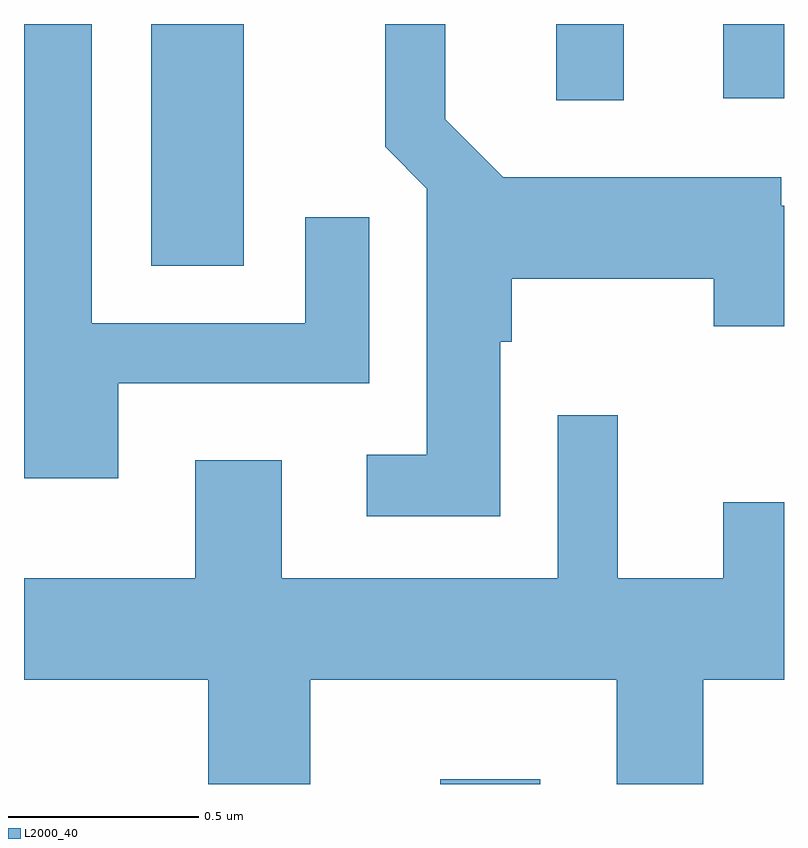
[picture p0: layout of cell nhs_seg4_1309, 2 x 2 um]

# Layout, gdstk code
import gdstk
lib = gdstk.Library(unit=1e-6, precision=1e-09)
def R(c, l, rs):  # rectangles x0, y0, x1, y1
    for r in rs: c.add(gdstk.rectangle(r[:2], r[2:], *l))
def P(c, l, *ps):  # polygons
    for p in ps: c.add(gdstk.Polygon(p, *l))
L2000_40 = (2000, 40)

nhs_seg4_1309 = lib.new_cell('nhs_seg4_1309')
R(nhs_seg4_1309, L2000_40, [(195.706,1329.982,195.969,1329.994), (194.946,1331.346,195.189,1331.982), (196.011,1331.781,196.189,1331.982), (196.451,1331.786,196.611,1331.982)])
P(nhs_seg4_1309, L2000_40, [(194.859,1331.036),(195.519,1331.036),(195.519,1331.473),(195.351,1331.473),(195.351,1331.194),(194.789,1331.194),(194.789,1331.982),(194.611,1331.982),(194.611,1330.786),(194.859,1330.786)],
  [(195.864,1331.146),(195.894,1331.146),(195.894,1331.311),(196.426,1331.311),(196.426,1331.186),(196.611,1331.186),(196.611,1331.504),(196.604,1331.504),(196.604,1331.579),(195.872,1331.579),(195.719,1331.732),(195.719,1331.982),(195.561,1331.982),(195.561,1331.659),(195.671,1331.549),(195.671,1330.849),(195.513,1330.849),(195.513,1330.686),(195.864,1330.686)],
  [(195.364,1330.256),(196.171,1330.256),(196.171,1329.982),(196.399,1329.982),(196.399,1330.256),(196.611,1330.256),(196.611,1330.724),(196.451,1330.724),(196.451,1330.524),(196.174,1330.524),(196.174,1330.953),(196.016,1330.953),(196.016,1330.524),(195.289,1330.524),(195.289,1330.834),(195.061,1330.834),(195.061,1330.524),(194.611,1330.524),(194.611,1330.256),(195.096,1330.256),(195.096,1329.982),(195.364,1329.982)])

lib.write_gds('nhs_seg4_1309.gds')
